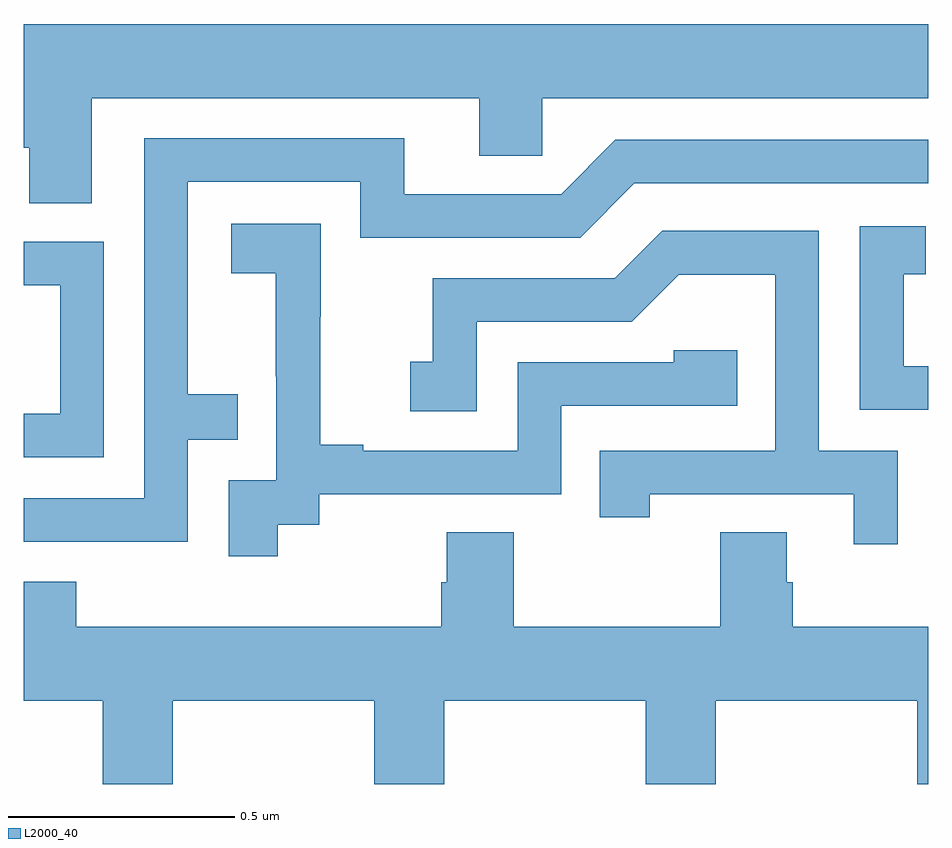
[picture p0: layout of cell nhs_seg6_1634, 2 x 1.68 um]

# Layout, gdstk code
import gdstk
lib = gdstk.Library(unit=1e-6, precision=1e-09)
def P(c, l, *ps):  # polygons
    for p in ps: c.add(gdstk.Polygon(p, *l))
L2000_40 = (2000, 40)

nhs_seg6_1634 = lib.new_cell('nhs_seg6_1634')
P(nhs_seg6_1634, L2000_40, [(132.151,934.016),(133.007,934.016),(133.007,933.889),(133.146,933.889),(133.146,934.016),(134,934.016),(134,934.18),(132,934.18),(132,933.907),(132.012,933.907),(132.012,933.784),(132.151,933.784)],
  [(132.363,933.261),(132.473,933.261),(132.473,933.362),(132.363,933.362),(132.363,933.831),(132.744,933.831),(132.744,933.708),(133.23,933.708),(133.35,933.828),(134,933.828),(134,933.924),(133.308,933.924),(133.188,933.804),(132.841,933.804),(132.841,933.927),(132.267,933.927),(132.267,933.132),(132,933.132),(132,933.036),(132.363,933.036)],
  [(132.562,933.073),(132.654,933.073),(132.654,933.141),(133.188,933.141),(133.188,933.336),(133.577,933.336),(133.577,933.459),(133.437,933.459),(133.437,933.432),(133.092,933.432),(133.092,933.237),(132.751,933.237),(132.751,933.25),(132.656,933.25),(132.656,933.533),(132.657,933.533),(132.657,933.739),(132.459,933.739),(132.459,933.629),(132.557,933.629),(132.557,933.401),(132.558,933.401),(132.558,933.171),(132.453,933.171),(132.453,933.003),(132.562,933.003)],
  [(134,933.423),(133.945,933.423),(133.945,933.627),(133.994,933.627),(133.994,933.733),(133.848,933.733),(133.848,933.327),(134,933.327)],
  [(133.932,933.237),(133.758,933.237),(133.758,933.723),(133.412,933.723),(133.307,933.618),(132.904,933.618),(132.904,933.433),(132.855,933.433),(132.855,933.324),(133.002,933.324),(133.002,933.522),(133.344,933.522),(133.448,933.626),(133.662,933.626),(133.662,933.237),(133.273,933.237),(133.273,933.09),(133.384,933.09),(133.384,933.141),(133.835,933.141),(133.835,933.03),(133.932,933.03)],
  [(132.177,933.699),(132,933.699),(132,933.603),(132.081,933.603),(132.081,933.318),(132,933.318),(132,933.222),(132.177,933.222)],
  [(132.33,932.684),(132.775,932.684),(132.775,932.5),(132.93,932.5),(132.93,932.684),(133.375,932.684),(133.375,932.5),(133.53,932.5),(133.53,932.684),(133.975,932.684),(133.975,932.5),(134,932.5),(134,932.848),(133.7,932.848),(133.7,932.946),(133.687,932.946),(133.687,933.056),(133.54,933.056),(133.54,932.848),(133.083,932.848),(133.083,933.056),(132.935,933.056),(132.935,932.946),(132.923,932.946),(132.923,932.848),(132.116,932.848),(132.116,932.947),(132,932.947),(132,932.684),(132.175,932.684),(132.175,932.5),(132.33,932.5)])

lib.write_gds('nhs_seg6_1634.gds')
